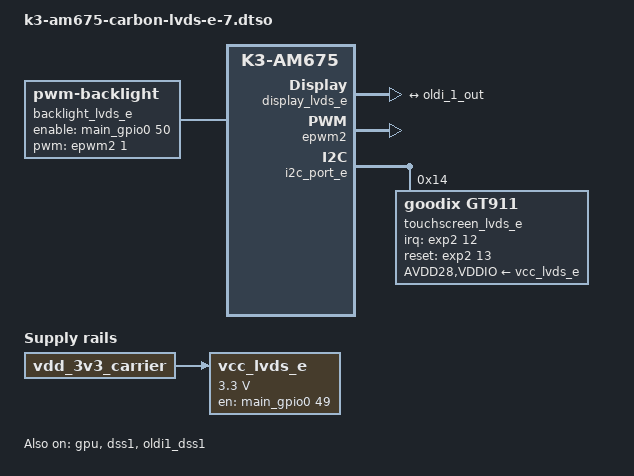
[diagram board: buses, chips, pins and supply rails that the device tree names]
// SPDX-License-Identifier: GPL-2.0-only OR MIT
/*
 * LVDS E to LVDS Expansion Board with BD070LIC3 display for Carbon AM67x
 *
 * Copyright (C) 2025 Ezurio LLC
 */

/dts-v1/;
/plugin/;

#include <dt-bindings/gpio/gpio.h>
#include <dt-bindings/interrupt-controller/irq.h>
#include <dt-bindings/pwm/pwm.h>
#include "k3-pinctrl.h"

#include "k3-am675-carbon-bd-panel.dtsi"

&{/} {
	backlight_lvds_e: backlight-lvds-e {
		compatible = "pwm-backlight";

		brightness-levels = <0 1 2 3 4 5 6 7 8 9 10>;
		default-brightness-level = <8>;
		pwms = <&epwm2 1 30000 0>; /* 33.3 kHz */

		pinctrl-names = "default";
		pinctrl-0 = <&main_lvds_e_backlight_en_default>;
		enable-gpios = <&main_gpio0 50 GPIO_ACTIVE_HIGH>;
	};

	vcc_lvds_e: regulator-vcc-lvds-e {
		compatible = "regulator-fixed";
		regulator-name = "vcc_lvds_e";
		regulator-min-microvolt = <3300000>;
		regulator-max-microvolt = <3300000>;

		vin-supply = <&vdd_3v3_carrier>;

		pinctrl-names = "default";
		pinctrl-0 = <&main_lvds_e_power_default>;
		gpios = <&main_gpio0 49 GPIO_ACTIVE_HIGH>;
		enable-active-high;
		startup-delay-us = <10000>;
	};

	display_lvds_e: display-lvds-e {
		compatible = "panel-lvds";
		data-mapping = "vesa-24";

		power-supply = <&vcc_lvds_e>;
		backlight = <&backlight_lvds_e>;

		width-mm = <150>;
		height-mm = <94>;

		panel-timing {
			BD_PANEL_TIMING
		};

		port {
			lcd_e_in: endpoint {
				remote-endpoint = <&oldi_1_out>;
			};
		};
	};
};

&epwm2 {
	status = "okay";
};

&gpu {
	status = "okay";
};

&dss1 {
	status = "okay";

	/* Separate PCLK for each independent display required,
	   only PLL 18 is connected to DSS1 OLDI */
	assigned-clocks =
		<&k3_clks 241 0>,	/* DSS1-VP0 */
		<&k3_clks 240 0>,	/* DSS1-VP1 */
		<&k3_clks 235 7>;	/* OLDI TX 1 */

	assigned-clock-parents =
		<&k3_clks 241 1>,	/* PLL 18 OLDI */
		<&k3_clks 240 2>,	/* PLL 17 DSI */
		<&k3_clks 235 9>;	/* PLL 18 OLDI */
};

&dss1_ports {
	#address-cells = <1>;
	#size-cells = <0>;

	/* Video Port 1 Output to OLDI */
	port@0 {
		reg = <0>;
		#address-cells = <1>;
		#size-cells = <0>;

		dpi1_out0: endpoint@0 {
			reg = <0>;
			remote-endpoint = <&oldi_1_in>;
		};
	};
};

&oldi1_dss1 {
	status = "okay";

	reg = <1>;
};

&oldi1_dss1_ports {
	#address-cells = <1>;
	#size-cells = <0>;

	port@0 {
		reg = <0>;

		oldi_1_in: endpoint {
			remote-endpoint = <&dpi1_out0>;
		};
	};

	port@1 {
		reg = <1>;

		oldi_1_out: endpoint {
			remote-endpoint = <&lcd_e_in>;
		};
	};
};

&i2c_port_e {
	#address-cells = <1>;
	#size-cells = <0>;

	touchscreen_lvds_e: touchscreen-lvds-e@14 {
		compatible = "goodix,gt911";
		reg = <0x14>;

		AVDD28-supply = <&vcc_lvds_e>;
		VDDIO-supply = <&vcc_lvds_e>;

		interrupts-extended = <&exp2 12 IRQ_TYPE_EDGE_FALLING>;
		interrupt-names = "irq";
		irq-gpios = <&exp2 12 GPIO_ACTIVE_HIGH>;
		reset-gpios = <&exp2 13 GPIO_ACTIVE_HIGH>;

		touchscreen-min-x = <0>;
		touchscreen-min-y = <0>;
		touchscreen-size-x = <1280>;
		touchscreen-size-y = <800>;
	};
};
